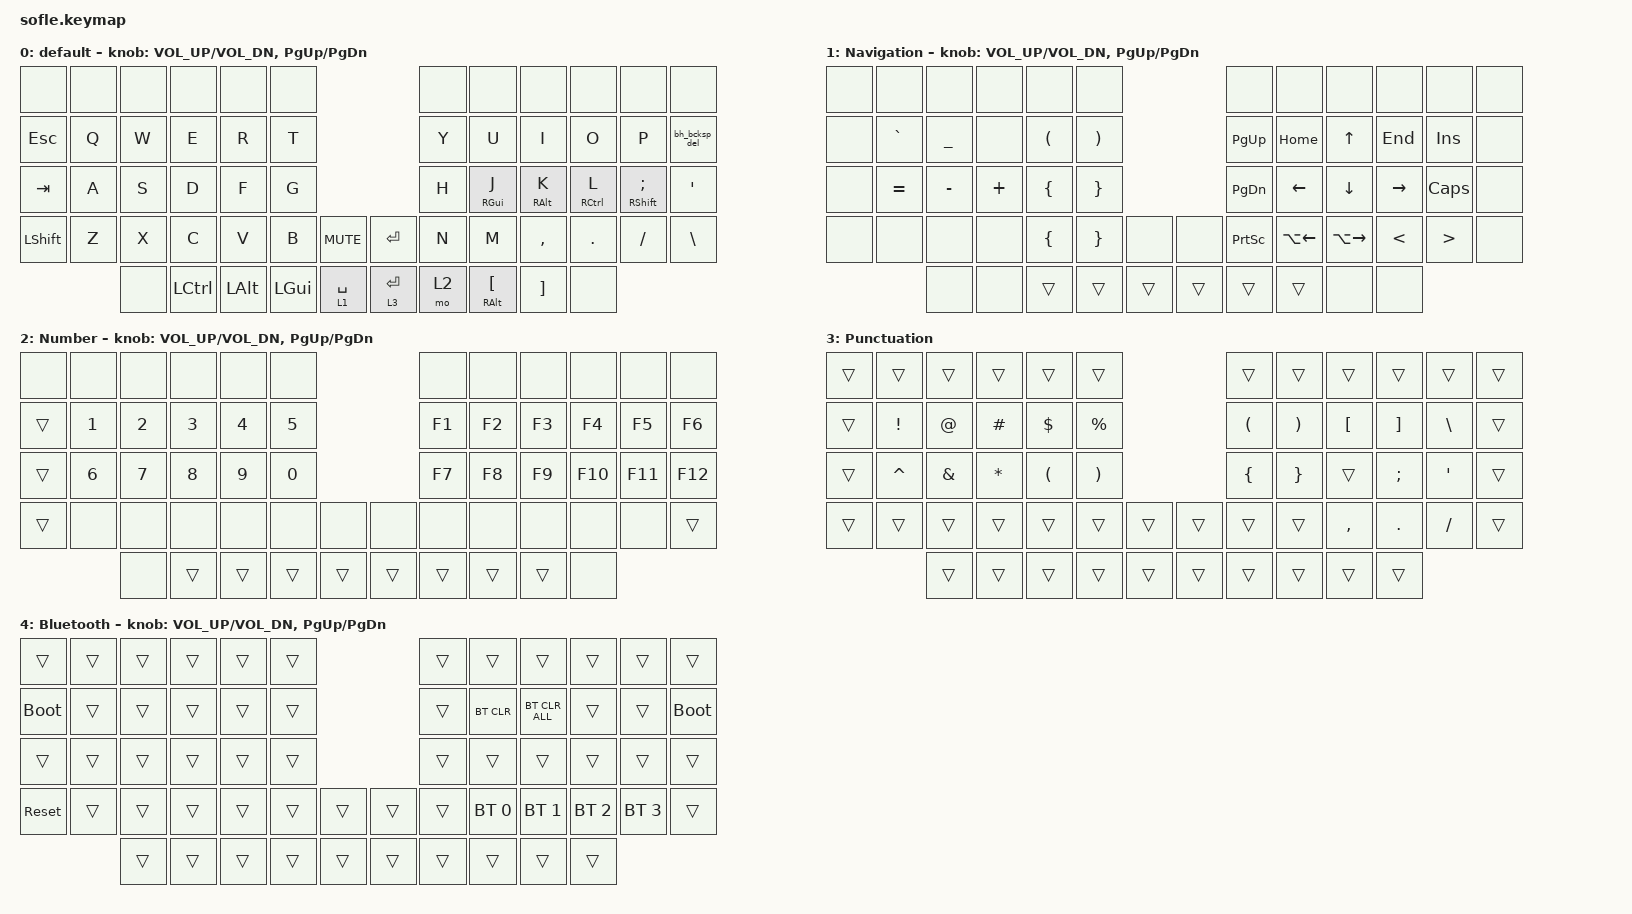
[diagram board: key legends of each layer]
/*
 * Copyright (c) 2020 The ZMK Contributors
 *
 * SPDX-License-Identifier: MIT
 */

#include <behaviors.dtsi>
#include <dt-bindings/zmk/bt.h>
#include <dt-bindings/zmk/keys.h>

#define BASE 0
#define LOWER 1
#define RAISE 2
#define ADJUST 3

/ {
    // Activate ADJUST layer by pressing raise and lower

    conditional_layers {
        compatible = "zmk,conditional-layers";

        sys_lr {
            if-layers = <1 2>;
            then-layer = <4>;
        };
    };

    behaviors {
        hml: home_row_mod_left {
            compatible = "zmk,behavior-hold-tap";
            label = "HML";
            bindings = <&kp>, <&kp>;

            #binding-cells = <2>;
            tapping-term-ms = <280>;
            quick-tap-ms = <175>;
            require-prior-idle-ms = <150>;
            flavor = "balanced";
            hold-trigger-on-release;
            hold-trigger-key-positions = <55 43 56 44 30 18 6 7 19 31 7 8 9 10 11 19 20 21 22 23 31 32 33 34 35 46 6 7 8 9 10 11 18 19 20 21 22 23 30 31 32 33 34 35 44 45 46 47 48 49 56 57 58 59 54 53 52>;
        };

        hmr: home_row_mod_right {
            compatible = "zmk,behavior-hold-tap";
            label = "HMR";
            bindings = <&kp>, <&kp>;

            #binding-cells = <2>;
            tapping-term-ms = <280>;
            quick-tap-ms = <175>;
            require-prior-idle-ms = <150>;
            flavor = "balanced";
            hold-trigger-on-release;
            hold-trigger-key-positions = <0 1 2 3 4 5 12 13 14 15 16 17 24 25 26 27 28 29 36 37 38 39 40 41 42 50 51 52 53 54 55 56 57>;
        };

        bhm_dot_apos: bhm_dot_apos {
            compatible = "zmk,behavior-mod-morph";
            label = "BHM_DOT_APOS";
            bindings = <&kp DOT>, <&kp APOS>;

            #binding-cells = <0>;
            mods = <(MOD_LALT)>;
        };

        bhm_fwdslsh_bckslsh: bhm_fwdslsh_bckslsh {
            compatible = "zmk,behavior-mod-morph";
            label = "BHM_FWDSLSH_BCKSLSH";
            bindings = <&kp SLASH>, <&kp BACKSLASH>;

            #binding-cells = <0>;
            mods = <(MOD_LALT)>;
        };

        bh_bcksp_del: bh_bcksp_del {
            compatible = "zmk,behavior-mod-morph";
            label = "BH_BCKSP_DEL";
            bindings = <&kp BACKSPACE>, <&kp DEL>;

            #binding-cells = <0>;
            mods = <(MOD_RALT)>;
        };
    };

    combos {
        compatible = "zmk,combos";

        lang {
            bindings = <&kp LA(LC(SPACE))>;
            key-positions = <37 36>;
        };
    };

    keymap {
        compatible = "zmk,keymap";

        default_layer {
            display-name = "default";

            // ------------------------------------------------------------------------------------------------------------
            // |   `   |  1  |  2  |  3   |  4   |  5   |                   |  6   |  7    |  8    |  9   |   0   |       |
            // |  ESC  |  Q  |  W  |  E   |  R   |  T   |                   |  Y   |  U    |  I    |  O   |   P   | BKSPC |
            // |  TAB  |  A  |  S  |  D   |  F   |  G   |                   |  H   |  J    |  K    |  L   |   ;   |   '   |
            // | SHIFT |  Z  |  X  |  C   |  V   |  B   |  MUTE  |  |       |  N   |  M    |  ,    |  .   |   /   | SHIFT |
            //               | GUI | ALT  | CTRL | LOWER|  ENTER |  | SPACE | RAISE| CTRL  | ALT   | GUI  |

            bindings = <
&none           &none  &none  &none             &none         &none                                     &none  &none                       &none              &none                 &none                  &none
&kp ESCAPE      &kp Q  &kp W  &kp E             &kp R         &kp T                                     &kp Y  &kp U                       &kp I              &kp O                 &kp P                  &bh_bcksp_del
&kp TAB         &kp A  &kp S  &kp D             &kp F         &kp G                                     &kp H  &hmr RIGHT_GUI J            &hmr RALT K        &hmr RIGHT_CONTROL L  &hmr RIGHT_SHIFT SEMI  &kp SQT
&kp LEFT_SHIFT  &kp Z  &kp X  &kp C             &kp V         &kp B         &kp C_MUTE     &kp ENTER    &kp N  &kp M                       &kp COMMA          &kp DOT               &kp SLASH              &kp BACKSLASH
                       &none  &kp LEFT_CONTROL  &kp LEFT_ALT  &kp LEFT_GUI  &lt 1 SPACE    &lt 3 ENTER  &mo 2  &mt RIGHT_ALT LEFT_BRACKET  &kp RIGHT_BRACKET  &none
            >;

            sensor-bindings = <&inc_dec_kp C_VOL_UP C_VOL_DN &inc_dec_kp PG_UP PG_DN>;
        };

        nav_layer {
            display-name = "Navigation";

            // TODO: Some binds are waiting for shifted keycode support.
            // ------------------------------------------------------------------------------------------------------------
            // |       |  F1 |  F2 |  F3  |  F4  |  F5  |                   |  F6  |  F7   |  F8   |  F9  |  F10  |  F11  |
            // |   `   |  1  |  2  |  3   |  4   |  5   |                   |  6   |  7    |  8    |  9   |   0   |  F12  |
            // |       |  !  |  @  |  #   |  $   |  %   |                   |  ^   |  &    |  *    |  (   |   )   |   |   |
            // |       |  =  |  -  |  +   |  {   |  }   |        |  |       |  [   |  ]    |  ;    |  :   |   \   |       |
            //               |     |      |      |      |        |  |       |      |       |       |      |

            bindings = <
&none  &none      &none      &none     &none           &none                              &none            &none         &none                &none            &none             &none
&none  &kp GRAVE  &kp UNDER  &none     &kp LPAR        &kp RPAR                           &kp PAGE_UP      &kp HOME      &kp UP_ARROW         &kp END          &kp INS           &none
&none  &kp EQUAL  &kp MINUS  &kp PLUS  &kp LEFT_BRACE  &kp RIGHT_BRACE                    &kp PAGE_DOWN    &kp LEFT      &kp DOWN_ARROW       &kp RIGHT_ARROW  &kp CAPS          &none
&none  &none      &none      &none     &kp LEFT_BRACE  &kp RIGHT_BRACE  &none     &none   &kp PRINTSCREEN  &kp LA(LEFT)  &kp LA(RIGHT_ARROW)  &kp LESS_THAN    &kp GREATER_THAN  &none
                  &none      &none     &trans          &trans           &trans    &trans  &trans           &trans        &none                &none
            >;

            sensor-bindings = <&inc_dec_kp C_VOL_UP C_VOL_DN &inc_dec_kp PG_UP PG_DN>;
            label = "Navigation";
        };

        nmbr_layer {
            display-name = "Number";
            bindings = <
&none   &none         &none         &none         &none         &none                           &none   &none   &none   &none    &none    &none
&trans  &kp NUMBER_1  &kp NUMBER_2  &kp NUMBER_3  &kp NUMBER_4  &kp NUMBER_5                    &kp F1  &kp F2  &kp F3  &kp F4   &kp F5   &kp F6
&trans  &kp NUMBER_6  &kp N7        &kp N8        &kp N9        &kp N0                          &kp F7  &kp F8  &kp F9  &kp F10  &kp F11  &kp F12
&trans  &none         &none         &none         &none         &none         &none     &none   &none   &none   &none   &none    &none    &trans
                      &none         &trans        &trans        &trans        &trans    &trans  &trans  &trans  &trans  &none
            >;

            sensor-bindings =
                <&inc_dec_kp C_VOL_UP C_VOL_DN>,
                <&inc_dec_kp PG_UP PG_DN>;

            label = "Number";
        };

        puntctn_layer {
            bindings = <
&trans  &trans     &trans    &trans    &trans    &trans                       &trans          &trans           &trans            &trans             &trans         &trans
&trans  &kp EXCL   &kp AT    &kp HASH  &kp DLLR  &kp PRCNT                    &kp LPAR        &kp RPAR         &kp LEFT_BRACKET  &kp RIGHT_BRACKET  &kp BACKSLASH  &trans
&trans  &kp CARET  &kp AMPS  &kp STAR  &kp LPAR  &kp RPAR                     &kp LEFT_BRACE  &kp RIGHT_BRACE  &trans            &kp SEMI           &kp SQT        &trans
&trans  &trans     &trans    &trans    &trans    &trans     &trans    &trans  &trans          &trans           &kp COMMA         &kp DOT            &kp SLASH      &trans
                   &trans    &trans    &trans    &trans     &trans    &trans  &trans          &trans           &trans            &trans
            >;

            label = "Punctuation";
        };

        bth_layer {
            display-name = "Bluetooth";

            // ------------------------------------------------------------------------------------------------------------
            // | BTCLR | BT1  | BT2  |  BT3  |  BT4  |  BT5 |                |      |      |       |      |       |       |
            // |       | INS  | PSCR | GUI   |       |      |                | PGUP |      |   ^   |      |       |       |
            // |       | ALT  | CTRL | SHIFT |       | CAPS |                | PGDN |   <- |   v   |  ->  |  DEL  | BKSPC |
            // |       | UNDO | CUT  | COPY  | PASTE |      |      |  |      |      |      |       |      |       |       |
            //                |      |       |       |      |      |  |      |      |      |       |      |

            bindings = <
&trans       &trans  &trans  &trans  &trans  &trans                    &trans  &trans        &trans          &trans        &trans        &trans
&bootloader  &trans  &trans  &trans  &trans  &trans                    &trans  &bt BT_CLR    &bt BT_CLR_ALL  &trans        &trans        &bootloader
&trans       &trans  &trans  &trans  &trans  &trans                    &trans  &trans        &trans          &trans        &trans        &trans
&sys_reset   &trans  &trans  &trans  &trans  &trans  &trans    &trans  &trans  &bt BT_SEL 0  &bt BT_SEL 1    &bt BT_SEL 2  &bt BT_SEL 3  &trans
                     &trans  &trans  &trans  &trans  &trans    &trans  &trans  &trans        &trans          &trans
            >;

            sensor-bindings = <&inc_dec_kp C_VOL_UP C_VOL_DN &inc_dec_kp PG_UP PG_DN>;
            label = "Bloetooth";
        };
    };
};
